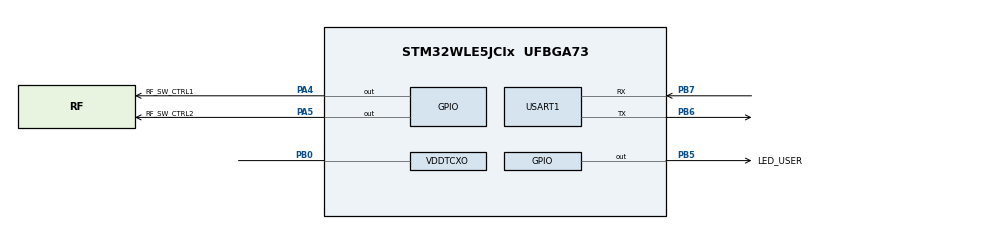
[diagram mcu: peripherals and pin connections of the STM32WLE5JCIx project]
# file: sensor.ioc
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FREERTOS.Tasks01=defaultTask,24,512,StartDefaultTask,Default,NULL,Dynamic,NULL,NULL
FREERTOS.configTOTAL_HEAP_SIZE=16384
Mcu.Family=STM32WL
Mcu.Name=STM32WLE5JCIx
Mcu.Package=UFBGA73
NVIC.PriorityGroup=NVIC_PRIORITYGROUP_4
NVIC.SUBGHZ_Radio_IRQn=true\:5\:0\:false\:false\:true\:true\:true\:true\:true
NVIC.TIM1_UP_IRQn=true\:15\:0\:false\:false\:true\:false\:false\:true\:true
NVIC.TimeBase=TIM1_UP_IRQn
NVIC.TimeBaseIP=TIM1
OSC_IN.Mode=HSE-TCXO
OSC_IN.Signal=RCC_OSC_IN
PA4.GPIO_Label=RF_SW_CTRL1
PA4.Signal=GPIO_Output
PA5.GPIO_Label=RF_SW_CTRL2
PA5.Signal=GPIO_Output
PB0-VDD_TCXO.Mode=HSE-TCXO
PB0-VDD_TCXO.Signal=VDDTCXO
PB5.GPIO_Label=LED_USER
PB5.Signal=GPIO_Output
PB6.Mode=Asynchronous
PB6.Signal=USART1_TX
PB7.Mode=Asynchronous
PB7.Signal=USART1_RX
PC14-OSC32_IN.Mode=LSE-External-Oscillator
PC14-OSC32_IN.Signal=RCC_OSC32_IN
PC15-OSC32_OUT.Mode=LSE-External-Oscillator
PC15-OSC32_OUT.Signal=RCC_OSC32_OUT
ProjectManager.HeapSize=0x200
ProjectManager.StackSize=0x400
ProjectManager.TargetToolchain=CMake
RCC.HSE_VALUE=32000000
RCC.HSI_VALUE=16000000
RCC.LSE_VALUE=32768
RCC.VCOOutputFreq_Value=32000000
USART1.VirtualMode-Asynchronous=VM_ASYNC
VP_FREERTOS_VS_CMSIS_V2.Mode=CMSIS_V2
VP_SUBGHZ_VS_SUBGHZ.Mode=SUBGHZ_Activate
VP_SYS_VS_tim1.Mode=TIM1
board=custom

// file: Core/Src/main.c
/* USER CODE BEGIN Header */
/**
  ******************************************************************************
  * @file           : main.c
  * @brief          : Main program body
  ******************************************************************************
  * @attention
  *
  * Copyright (c) 2026 STMicroelectronics.
  * All rights reserved.
  *
  * This software is licensed under terms that can be found in the LICENSE file
  * in the root directory of this software component.
  * If no LICENSE file comes with this software, it is provided AS-IS.
  *
  ******************************************************************************
  */
/* USER CODE END Header */
#include "main.h"
#include "cmsis_os2.h"
#include "FreeRTOS.h"
#include "subghz.h"
#include "usart.h"
#include "gpio.h"

void SystemClock_Config(void);
void MX_FREERTOS_Init(void);

int main(void)
{

  /* MCU Configuration--------------------------------------------------------*/

  /* Reset of all peripherals, Initializes the Flash interface and the Systick. */
  HAL_Init();

  /* Configure the system clock */
  SystemClock_Config();

  /* Initialize all configured peripherals */
  MX_GPIO_Init();
  MX_SUBGHZ_Init();
  MX_USART1_UART_Init();

  /* Init scheduler */
  osKernelInitialize();  /* Call init function for freertos objects (in cmsis_os2.c) */
  MX_FREERTOS_Init();

  /* Start scheduler */
  osKernelStart();

  /* We should never get here as control is now taken by the scheduler */

  /* Infinite loop */
  while (1)
  {

  }
}

void SystemClock_Config(void)
{
  LL_FLASH_SetLatency(LL_FLASH_LATENCY_0);
  while(LL_FLASH_GetLatency() != LL_FLASH_LATENCY_0)
  {
  }

  LL_PWR_SetRegulVoltageScaling(LL_PWR_REGU_VOLTAGE_SCALE2);
  LL_RCC_MSI_Enable();

   /* Wait till MSI is ready */
  while(LL_RCC_MSI_IsReady() != 1)
  {
  }

  LL_RCC_MSI_EnableRangeSelection();
  LL_RCC_MSI_SetRange(LL_RCC_MSIRANGE_6);
  LL_RCC_MSI_SetCalibTrimming(0);
  LL_PWR_EnableBkUpAccess();
  LL_RCC_LSE_SetDriveCapability(LL_RCC_LSEDRIVE_LOW);
  LL_RCC_LSE_EnablePropagation();
  LL_RCC_LSE_Enable();

   /* Wait till LSE is ready */
  while(LL_RCC_LSE_IsReady() != 1)
  {
  }

  LL_RCC_MSI_EnablePLLMode();
  LL_RCC_SetSysClkSource(LL_RCC_SYS_CLKSOURCE_MSI);

   /* Wait till System clock is ready */
  while(LL_RCC_GetSysClkSource() != LL_RCC_SYS_CLKSOURCE_STATUS_MSI)
  {
  }

  LL_RCC_SetAHBPrescaler(LL_RCC_SYSCLK_DIV_1);
  LL_RCC_SetAHB3Prescaler(LL_RCC_SYSCLK_DIV_1);
  LL_RCC_SetAPB1Prescaler(LL_RCC_APB1_DIV_1);
  LL_RCC_SetAPB2Prescaler(LL_RCC_APB2_DIV_1);
  /* Update CMSIS variable (which can be updated also through SystemCoreClockUpdate function) */
  LL_SetSystemCoreClock(4000000);

   /* Update the time base */
  if (HAL_InitTick (TICK_INT_PRIORITY) != HAL_OK)
  {
    Error_Handler();
  }
}

void HAL_TIM_PeriodElapsedCallback(TIM_HandleTypeDef *htim)
{
  if (htim->Instance == TIM1)
  {
    HAL_IncTick();
  }
}

void Error_Handler(void)
{
  __disable_irq();
  while (1)
  {
  }
}

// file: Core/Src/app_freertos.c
/* USER CODE BEGIN Header */
/**
  ******************************************************************************
  * File Name          : app_freertos.c
  * Description        : Code for freertos applications
  ******************************************************************************
  * @attention
  *
  * Copyright (c) 2026 STMicroelectronics.
  * All rights reserved.
  *
  * This software is licensed under terms that can be found in the LICENSE file
  * in the root directory of this software component.
  * If no LICENSE file comes with this software, it is provided AS-IS.
  *
  ******************************************************************************
  */
/* USER CODE END Header */

#include "FreeRTOS.h"
#include "task.h"
#include "main.h"
#include "cmsis_os2.h"
#include "FreeRTOS.h"

/* USER CODE BEGIN Includes */
#include <stdio.h>
#include "radio_e5.h"
#include "adc_soil.h"
/* USER CODE END Includes */

/* Definitions for defaultTask */
osThreadId_t defaultTaskHandle;
const osThreadAttr_t defaultTask_attributes = {
  .name = "defaultTask",
  .priority = (osPriority_t) osPriorityNormal,
  .stack_size = 512 * 4
};

void StartDefaultTask(void *argument);

void MX_FREERTOS_Init(void); /* (MISRA C 2004 rule 8.1) */

void MX_FREERTOS_Init(void) {

  /* Create the thread(s) */
  /* creation of defaultTask */
  defaultTaskHandle = osThreadNew(StartDefaultTask, NULL, &defaultTask_attributes);

}

void StartDefaultTask(void *argument)
{
  /* USER CODE BEGIN StartDefaultTask */
  uint32_t seq = 0;

  printf("[Node] LoRa telemetry sensor starting (868 MHz, SF7, BW125)\r\n");

  if (!radio_e5_init())
  {
    printf("[Node] Radio init failed\r\n");
  }

  adc_soil_init();

  for (;;)
  {
    seq++;
    LL_GPIO_SetOutputPin(LED_USER_GPIO_Port, LED_USER_Pin);

    uint16_t raw_adc = adc_soil_read_raw();
    uint16_t permille = adc_soil_raw_to_permille(raw_adc);
    uint16_t vdda_mv = adc_read_vdda_mv();

    char tx_payload[128];
    int len = snprintf(tx_payload, sizeof(tx_payload),
                       "{\"id\":\"plant_pot_1\",\"hum\":%u.%u,\"raw\":%u,\"vbat\":%u.%02u,\"seq\":%lu}",
                       permille / 10U, permille % 10U,
                       (unsigned int)raw_adc,
                       vdda_mv / 1000U, (vdda_mv % 1000U) / 10U,
                       (unsigned long)seq);

    printf("[TX #%lu] %s (%d B)\r\n", (unsigned long)seq, tx_payload, len);

    if (radio_e5_send((const uint8_t *)tx_payload, len, 1000))
    {
      /* Listen for ACK within 1500 ms */
      uint8_t rx_buf[64] = {0};
      float rssi = 0.0f, snr = 0.0f;
      int16_t rx_len = radio_e5_receive(rx_buf, sizeof(rx_buf) - 1, 1500, &rssi, &snr);

      if (rx_len > 0)
      {
        rx_buf[rx_len] = '\0';
        printf("[ACK] '%s' (RSSI: %.1f dBm, SNR: %.1f dB)\r\n", (char *)rx_buf, rssi, snr);
      }
      else if (rx_len == 0)
      {
        printf("[ACK] Timeout\r\n");
      }
      else
      {
        printf("[ACK] RX error (%d)\r\n", rx_len);
      }
    }
    else
    {
      printf("[TX] Failed to transmit\r\n");
    }

    LL_GPIO_ResetOutputPin(LED_USER_GPIO_Port, LED_USER_Pin);

    osDelay(5000);
  }
  /* USER CODE END StartDefaultTask */
}
